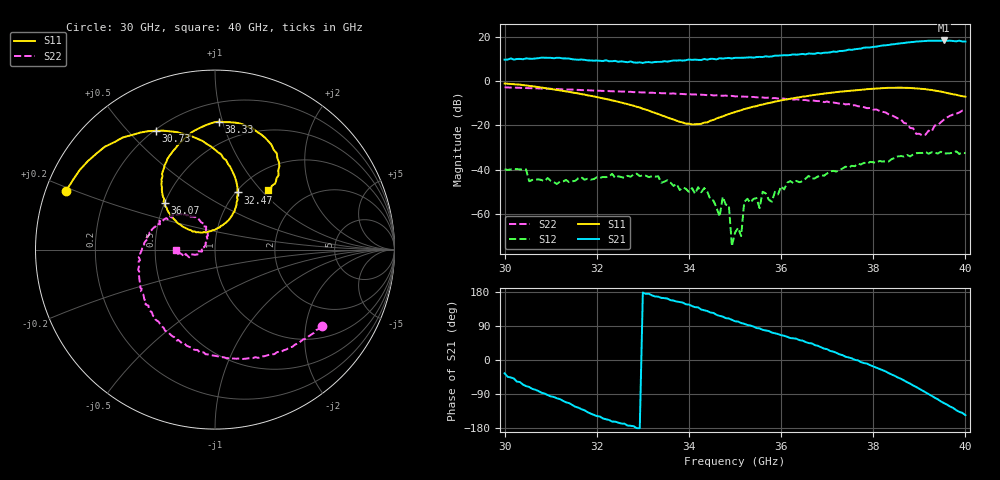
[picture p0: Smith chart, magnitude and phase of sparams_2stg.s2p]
#  HZ  S  RI  R  50.00
! Rohde & Schwarz Vector Network Analyzer
! Rohde-Schwarz,ZNA67-4Port,1332450064101727,2.92
! Created: UTC 2/6/2025, 8:33:41 PM
! 2-6-2025
! freq[Hz]  re:S11  im:S11  re:S21  im:S21  re:S12  im:S12  re:S22  im:S22
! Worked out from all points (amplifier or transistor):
!   151 points, 30 GHz to 40 GHz, reference 50 ohm
!   highest |S21| = 18.5 dB at 39.53 GHz (marker M1)
!   |S21| within 3 dB of that: 37.98 GHz to end of sweep
!   unconditionally stable (mu >= 1): 30.03 GHz to end of sweep
!   at 31.67 GHz: K = 10.26, MAG = 13.6 dB, |S12| = -43.5 dB
!   at 35 GHz: K = 300.77, MAG = 11.9 dB, |S12| = -68.6 dB
!   at 40 GHz: K = 2.16, MAG = 19.2 dB, |S12| = -32.6 dB
!   S11 on the Smith chart (normalised r, x): 30 GHz: 0.06, +0.19; 30.73 GHz: 0.21, +0.60; 32.47 GHz: 1.02, +0.74; 36.07 GHz: 0.50, +0.30; 38.33 GHz: 0.34, +0.98; 40 GHz: 1.32, +1.10
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3e10  -0.8304 0.3258  2.537 -1.787  -0.0101 0.00045  0.5944 -0.4262
3.073333e10  -0.3285 0.6617  0.4741 -3.313  -0.00524 0.00293  0.431 -0.5416
3.12e10  -0.0937 0.6157  -0.7747 -3.309  -0.0043 0.00312  0.3103 -0.5833
3.166667e10  0.0458 0.5101  -1.999 -2.4  -0.0058 0.00333  0.1863 -0.6055
3.246667e10  0.126 0.3182  -2.682 -0.7079  -0.00428 0.00563  -0.0185 -0.5888
3.34e10  0.0672 0.1557  -2.654 0.7645  -0.00189 0.00464  -0.2275 -0.4869
3.4e10  -0.0114 0.1088  -2.599 1.73  -0.000144 0.0031  -0.3313 -0.3902
3.466667e10  -0.1135 0.1016  -1.484 2.991  0.000382 0.00076  -0.3977 -0.2565
3.473333e10  -0.1248 0.1005  -1.373 2.986  0.00052 0.00234  -0.3998 -0.2488
3.486667e10  -0.1436 0.1104  -1.14 3.193  0.000691 0.00138  -0.4088 -0.2178
3.493333e10  -0.1523 0.1141  -0.9089 3.169  -4.32e-05 -0.000178  -0.4167 -0.2124
3.5e10  -0.1618 0.119  -0.7257 3.336  0.000341 -0.000145  -0.4151 -0.187
3.513333e10  -0.1805 0.1285  -0.4521 3.387  -0.000228 -0.000209  -0.4221 -0.1594
3.526667e10  -0.1982 0.1418  -0.1611 3.469  -0.000991 -0.00193  -0.4264 -0.1378
3.606667e10  -0.2783 0.2583  1.722 3.517  -0.00291 -0.00202  -0.4039 0.0211
3.673333e10  -0.2983 0.3897  3.269 2.668  -0.00564 -0.00287  -0.3395 0.1237
3.766667e10  -0.1811 0.6069  5.451 -0.085  -0.0118 -0.00667  -0.1854 0.1992
3.833333e10  0.0239 0.7131  5.497 -3.768  -0.0149 -0.00296  -0.0821 0.1591
3.86e10  0.1338 0.7041  4.738 -5.548  -0.0201 -0.000205  -0.049 0.1283
3.906667e10  0.2986 0.6024  1.37 -8.039  -0.0227 0.00692  -0.0512 0.0298
3.953333e10  0.3524 0.4406  -3.385 -7.738  -0.0188 0.0135  -0.1327 -0.0262
4e10  0.2979 0.3337  -6.589 -4.511  -0.0145 0.0185  -0.2181 -0.00179
